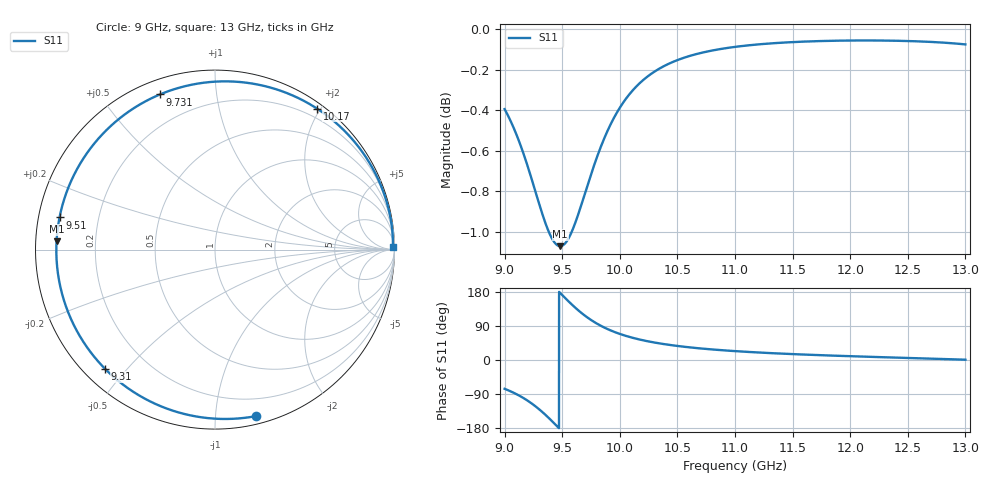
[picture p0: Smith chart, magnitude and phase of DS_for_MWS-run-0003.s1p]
! TOUCHSTONE file generated by CST DESIGN STUDIO
! Date and time: Tue Feb  4 18:31:29 2025
! Project name: C:\Work\MatlabApps\UnitCellOptimizationMatlab\CST\unitcell.cst
! Tree item: Tasks\Sweep1\SPara1\S-Parameters
! Header version: 2024
! Port assignment regex: !\s*Touchstone port\s*([0-9]+)\s*=\s*(CST MWS port|CST DES external port|CST DES block port)\s*(.+)\s* \(\"(.*)\"\)(\s*mode\s*([0-9]+))?.*
! Touchstone port assignment:
! Touchstone port 1 = CST DES external port 1 ("")
# GHz S MA R 50
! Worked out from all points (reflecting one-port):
!   4001 points, 9 GHz to 13 GHz, reference 50 ohm
!   lowest |S11| = -1.1 dB at 9.482 GHz (marker M1), VSWR 16.25, Z = 3.08 + j1.32 ohm
!   phase of S11 starts at -76 deg and turns -283 deg over the sweep
!   S11 on the Smith chart (normalised r, x): 9 GHz: 0.06, -1.28; 9.31 GHz: 0.06, -0.44; 9.51 GHz: 0.06, +0.10; 9.731 GHz: 0.06, +0.70; 10.17 GHz: 0.07, +1.96; 13 GHz: open
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9  0.9556 -76.1
9.078  0.9456 -86.4
9.176  0.9296 -102.7
9.245  0.9164 -116.9
9.31  0.9036 -132.7
9.355  0.8956 -144.8
9.403  0.8888 -158.8
9.443  0.8852 -171.0
9.482  0.884 177.0
9.5  0.8843 171.4
9.51  0.8846 168.3
9.563  0.8888 152.3
9.623  0.8974 135.4
9.676  0.9069 122.0
9.731  0.9172 109.6
9.785  0.927 98.9
9.845  0.9369 88.8
9.921  0.9475 78.0
10  0.9563 68.8
10.171  0.9697 54.1
10.321  0.977 45.0
10.5  0.9826 37.1
10.722  0.9869 29.9
11  0.99 23.4
11.5  0.9927 15.6
12  0.9936 10.0
12.5  0.9933 5.4
13  0.9914 0.8
